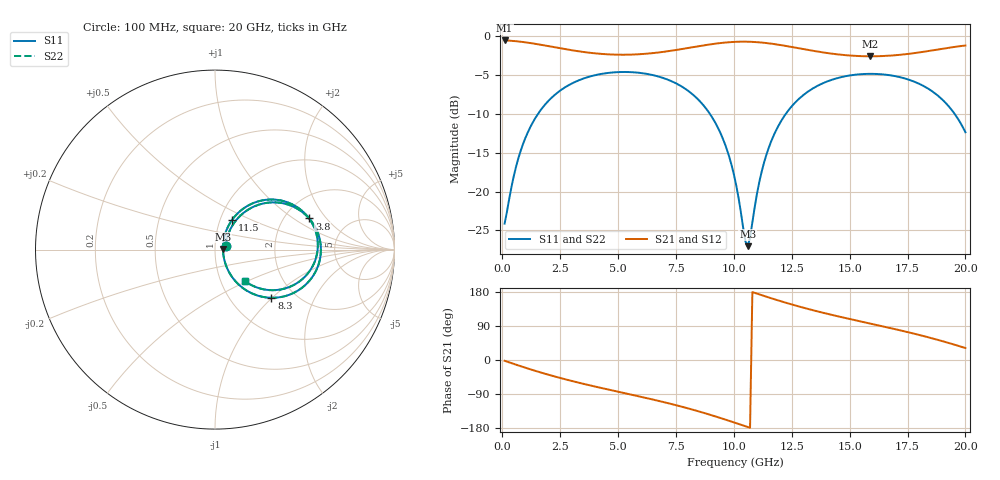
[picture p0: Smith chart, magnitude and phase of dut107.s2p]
! Touchstone file exported from HFSS 2026.1.0
!  File:  C:/ffzhzh/LocalFiles/Ansys_Project_Files/temp_train_TSV_RDL_107_1783045064_17544.aedt
!  Generated:  10:37:27 AM Jul  3, 2026
!  Design:  TSV_RDL
!  Project:  temp_train_TSV_RDL_107_1783045064_17544
! Variables:
!  h_bsmrdl = 5.56um
!  h_ox = 20um
!  h_rdl = 5um
!  h_sub = 75.25um
!  h_tmrdl = 2.05um
!  h_tsv = 75.25um
!  h_via = 3um
!  l_bsmrdl = 887.9um
!  l_sub = 5700.66um
!  l_tmrdl = 643.1um
!  m_sub = 200um
!  pitch = 32.08um
!  r_tsv = 3.79um
!  s_tmrdl = 10um
!  w_bsmrdl = 10.87um
!  w_sub = 500um
!  w_tmrdl = 10.65um
!  x_tsv_center1 = 648.425um
!  x_tsv_center2 = 1547.195um
!  x_tsv_center3 = 2200.945um
!  x_tsv_center4 = 3099.715um
!  x_tsv_center5 = 3753.465um
!  x_tsv_center6 = 4652.235um
# GHz S MA R 50.000000
! Terminal data exported
! Port[1] = TM_RDL1_1_T1
! Port[2] = TM_RDL5_1_T1
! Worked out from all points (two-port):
!   200 points, 100 MHz to 20 GHz, reference 50 ohm
!   highest |S21| = -0.52 dB at 100 MHz (marker M1); lowest = -2.6 dB at 15.9 GHz (marker M2)
!   |S21| within 3 dB of the highest: start of sweep to end of sweep
!   lowest |S11| = -27.0 dB at 10.6 GHz (marker M3), VSWR 1.09, Z = 54.6 + j0.433 ohm
!   |S11| at or under -10 dB: start of sweep to 1.539 GHz; 8.97 GHz to 12.24 GHz (3.271 GHz wide, 30.8 % of centre); 19.54 GHz to end of sweep
!   |S22| runs from -27.0 to -4.6 dB; largest |S21 - S12| = 1.5e-14
!   S11 on the Smith chart (normalised r, x): 100 MHz: 1.12, +0.05; 3.8 GHz: 2.71, +1.36; 8.3 GHz: 1.53, -0.99; 11.5 GHz: 1.14, +0.39; 20 GHz: 1.30, -0.48
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0.1  0.06228 19.6  0.9419 -2.1  0.9419 -2.1  0.06228 19.6
! Gamma 0 0 0 0
! Port Impedance 50 0 50 0
0.7  0.1653 54.1  0.9279 -14.5  0.9279 -14.5  0.1653 54.1
1.3  0.2763 51.2  0.9023 -26.3  0.9023 -26.3  0.2763 51.1
2.2  0.412 39.7  0.8548 -42.4  0.8548 -42.4  0.412 39.7
3.5  0.5352 22.2  0.794 -62.8  0.794 -62.8  0.5352 22.1
3.8  0.5527 18.3  0.7839 -67.2  0.7839 -67.2  0.5527 18.3
5.3  0.5901 -0.5  0.7622 -87.7  0.7622 -87.7  0.5901 -0.5
6.8  0.5486 -19.6  0.7898 -108.6  0.7898 -108.6  0.5486 -19.6
8.3  0.4134 -40.5  0.8559 -132.4  0.8559 -132.4  0.4133 -40.5
9.4  0.2425 -55.4  0.9057 -152.6  0.9057 -152.6  0.2425 -55.5
10.1  0.1104 -55.6  0.9232 -166.6  0.9232 -166.6  0.1104 -55.6
10.5  0.04785 -18.9  0.9251 -174.7  0.9251 -174.7  0.04783 -18.9
10.6  0.04457 5.1  0.9245 -176.8  0.9245 -176.8  0.04456 5.1
11.1  0.1155 58.6  0.916 173.1  0.916 173.1  0.1155 58.6
11.5  0.1904 60.1  0.9029 165.2  0.9029 165.2  0.1904 60.1
12.3  0.3255 51.5  0.8657 150.1  0.8657 150.1  0.3255 51.5
13.4  0.4612 36.3  0.809 131.6  0.809 131.6  0.4611 36.2
14.7  0.5493 19.2  0.7602 112.4  0.7602 112.4  0.5493 19.2
15.9  0.5741 4.5  0.7447 96.0  0.7447 96.0  0.574 4.4
16.7  0.5634 -5.3  0.7512 85.1  0.7512 85.1  0.5634 -5.4
18.7  0.4285 -31.2  0.8184 55.0  0.8184 55.0  0.4284 -31.2
20  0.2415 -46.4  0.8738 31.6  0.8738 31.6  0.2414 -46.4
